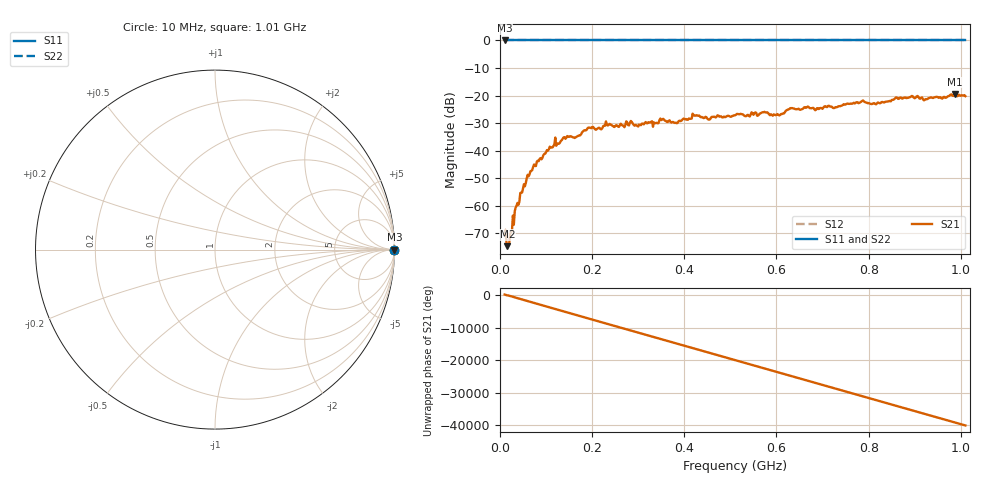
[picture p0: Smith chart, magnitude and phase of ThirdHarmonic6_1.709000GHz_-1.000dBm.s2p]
! 8/16/2025 8:33:25 PM
! C:\ANRITSUVNA\TEMP\TEMP.S2P
! CHANNEL.1
! TR.MEASUREMENT
! RAW.DATA
! RF.CORRECTION.OFF
! AVERAGING.OFF
! IF.BANDWIDTH: 5KHZ
! SWEEPTYPE:  FREQ.SWEEP(Linear)
! Reference Plane Port Info
! PORT:  PORT1  PORT2
! DISTANCE:  0  m  0  m
! TIME:  0  s  0  s
! PHASE.OFFSET:  0  deg.  0  deg.
! LOSS:  0  dB  0  dB
! REF.LOSS:  0  dB  0  dB
! REF.FREQ:  0  Hz  0  Hz
! Power Info
! POWER:  -20  dBm  -20  dBm
! EFF.POWER:  -20  dBm  -20  dBm
! SOURCE.ATTEN:  0  dB  0  dB
! TEST.ATTEN:  0  dB  0  dB
# GHZ S RI R 50.0
! FREQ.GHZ  S11RE  S11IM  S21RE  S21IM  S12RE  S12IM  S22RE  S22IM
!; PortSelection: Port_12
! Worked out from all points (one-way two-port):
!   501 points, 10 MHz to 1.01 GHz, reference 50 ohm
!   highest |S21| = -19.44 dB at 988 MHz (marker M1); lowest = -74.7 dB at 16 MHz (marker M2)
!   lowest |S11| = 0.0 dB at 10 MHz (marker M3)
!   |S11| at or under -10 dB: nowhere
!   |S22| runs from 0.0 to 0.0 dB; largest |S21 - S12| = 1.1
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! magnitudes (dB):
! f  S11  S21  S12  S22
! 10 MHz  0.0  -70.4  0.0  0.0
! 16 MHz  0.0  -74.7  0.0  0.0
! 22 MHz  0.0  -70.1  0.0  0.0
! 32 MHz  0.0  -62.0  0.0  0.0
! 48 MHz  0.0  -55.2  0.0  0.0
! 70 MHz  0.0  -47.0  0.0  0.0
! 116 MHz  0.0  -38.3  0.0  0.0
! 178 MHz  0.0  -33.4  0.0  0.0
! 234 MHz  0.0  -30.9  0.0  0.0
! 286 MHz  0.0  -29.6  0.0  0.0
! 296 MHz  0.0  -30.8  0.0  0.0
! 344 MHz  0.0  -30.0  0.0  0.0
! 382 MHz  0.0  -29.8  0.0  0.0
! 422 MHz  0.0  -27.3  0.0  0.0
! 454 MHz  0.0  -28.7  0.0  0.0
! 510 MHz  0.0  -27.2  0.0  0.0
! 604 MHz  0.0  -26.9  0.0  0.0
! 632 MHz  0.0  -24.6  0.0  0.0
! 678 MHz  0.0  -24.5  0.0  0.0
! 844 MHz  0.0  -22.0  0.0  0.0
! 988 MHz  0.0  -19.4  0.0  0.0
! 1.01 GHz  0.0  -20.2  0.0  0.0
